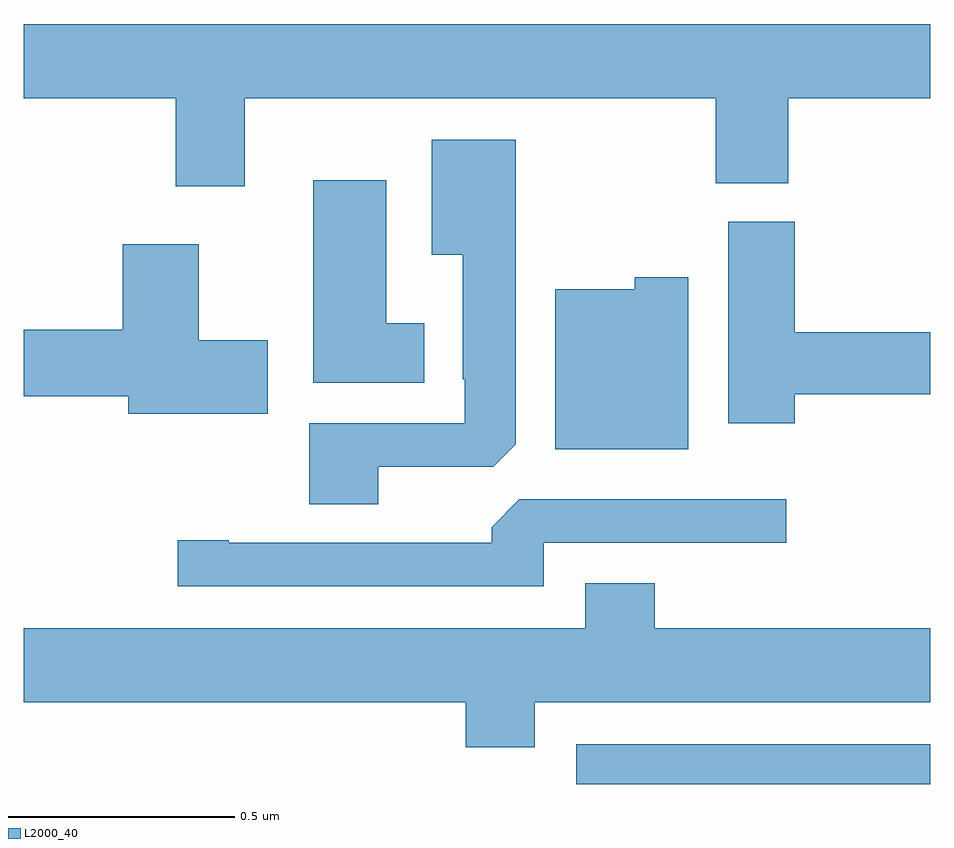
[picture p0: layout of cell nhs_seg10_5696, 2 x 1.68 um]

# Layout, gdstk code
import gdstk
lib = gdstk.Library(unit=1e-6, precision=1e-09)
def R(c, l, rs):  # rectangles x0, y0, x1, y1
    for r in rs: c.add(gdstk.rectangle(r[:2], r[2:], *l))
def P(c, l, *ps):  # polygons
    for p in ps: c.add(gdstk.Polygon(p, *l))
L2000_40 = (2000, 40)

nhs_seg10_5696 = lib.new_cell('nhs_seg10_5696')
R(nhs_seg10_5696, L2000_40, [(183.219,1269.5,184,1269.588)])
P(nhs_seg10_5696, L2000_40, [(182.488,1271.012),(183.526,1271.012),(183.526,1270.825),(183.686,1270.825),(183.686,1271.012),(184,1271.012),(184,1271.176),(182,1271.176),(182,1271.012),(182.336,1271.012),(182.336,1270.818),(182.488,1270.818)],
  [(182.782,1270.2),(183.036,1270.2),(183.085,1270.249),(183.085,1270.921),(182.9,1270.921),(182.9,1270.667),(182.969,1270.667),(182.969,1270.393),(182.973,1270.393),(182.973,1270.296),(182.63,1270.296),(182.63,1270.117),(182.782,1270.117)],
  [(182.884,1270.516),(182.8,1270.516),(182.8,1270.831),(182.639,1270.831),(182.639,1270.385),(182.884,1270.385)],
  [(183.701,1270.36),(184,1270.36),(184,1270.496),(183.701,1270.496),(183.701,1270.74),(183.554,1270.74),(183.554,1270.296),(183.701,1270.296)],
  [(182.539,1270.479),(182.386,1270.479),(182.386,1270.69),(182.219,1270.69),(182.219,1270.502),(182,1270.502),(182,1270.355),(182.231,1270.355),(182.231,1270.316),(182.539,1270.316)],
  [(183.466,1270.618),(183.348,1270.618),(183.348,1270.591),(183.173,1270.591),(183.173,1270.238),(183.466,1270.238)],
  [(183.147,1270.032),(183.682,1270.032),(183.682,1270.128),(183.093,1270.128),(183.032,1270.066),(183.032,1270.032),(182.452,1270.032),(182.452,1270.037),(182.34,1270.037),(182.34,1269.936),(183.147,1269.936)],
  [(183.127,1269.68),(184,1269.68),(184,1269.844),(183.392,1269.844),(183.392,1269.943),(183.239,1269.943),(183.239,1269.844),(182,1269.844),(182,1269.68),(182.975,1269.68),(182.975,1269.581),(183.127,1269.581)])

lib.write_gds('nhs_seg10_5696.gds')
